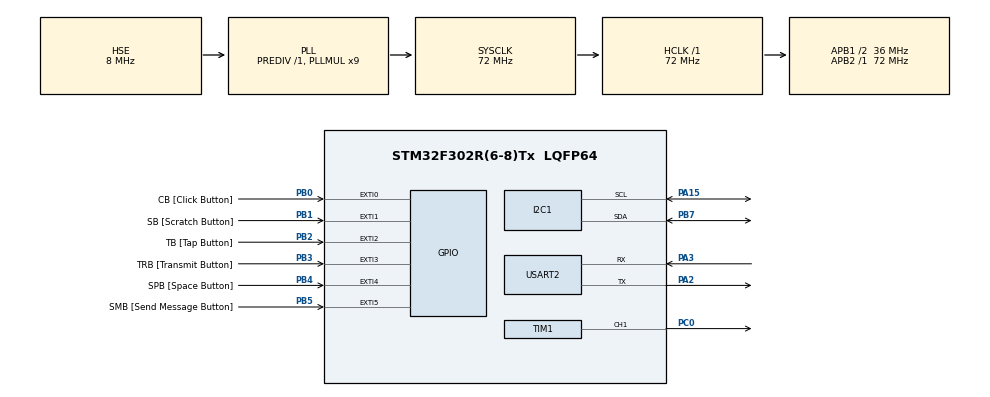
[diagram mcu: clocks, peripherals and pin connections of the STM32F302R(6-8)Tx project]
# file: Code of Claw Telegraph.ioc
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Mcu.Family=STM32F3
Mcu.Name=STM32F302R(6-8)Tx
Mcu.Package=LQFP64
NVIC.PriorityGroup=NVIC_PRIORITYGROUP_4
NVIC.TIM2_IRQn=true\:0\:0\:false\:false\:true\:true\:true\:true
NVIC.TIM6_DAC_IRQn=true\:0\:0\:false\:false\:true\:true\:true\:true
PA13.Mode=Serial_Wire
PA13.Signal=SYS_JTMS-SWDIO
PA14.Mode=Serial_Wire
PA14.Signal=SYS_JTCK-SWCLK
PA15.Mode=I2C
PA15.Signal=I2C1_SCL
PA2.Mode=Asynchronous
PA2.Signal=USART2_TX
PA3.Mode=Asynchronous
PA3.Signal=USART2_RX
PB0.GPIO_Label=CB [Click Button]
PB0.GPIO_ModeDefaultEXTI=GPIO_MODE_IT_FALLING
PB0.GPIO_PuPd=GPIO_PULLUP
PB0.Signal=GPXTI0
PB1.GPIO_Label=SB [Scratch Button]
PB1.GPIO_ModeDefaultEXTI=GPIO_MODE_IT_FALLING
PB1.GPIO_PuPd=GPIO_PULLUP
PB1.Signal=GPXTI1
PB2.GPIO_Label=TB [Tap Button]
PB2.GPIO_ModeDefaultEXTI=GPIO_MODE_IT_FALLING
PB2.GPIO_PuPd=GPIO_PULLUP
PB2.Signal=GPXTI2
PB3.GPIO_Label=TRB [Transmit Button]
PB3.GPIO_ModeDefaultEXTI=GPIO_MODE_IT_FALLING
PB3.GPIO_PuPd=GPIO_PULLUP
PB3.Signal=GPXTI3
PB4.GPIO_Label=SPB [Space Button]
PB4.GPIO_ModeDefaultEXTI=GPIO_MODE_IT_FALLING
PB4.GPIO_PuPd=GPIO_PULLUP
PB4.Signal=GPXTI4
PB5.GPIO_Label=SMB [Send Message Button]
PB5.GPIO_ModeDefaultEXTI=GPIO_MODE_IT_FALLING
PB5.GPIO_PuPd=GPIO_PULLUP
PB5.Signal=GPXTI5
PB7.Mode=I2C
PB7.Signal=I2C1_SDA
PC0.Signal=S_TIM1_CH1
PF0-OSC_IN.Mode=HSE-External-Oscillator
PF0-OSC_IN.Signal=RCC_OSC_IN
PF1-OSC_OUT.Mode=HSE-External-Oscillator
PF1-OSC_OUT.Signal=RCC_OSC_OUT
ProjectManager.HeapSize=0x200
ProjectManager.StackSize=0x400
ProjectManager.TargetToolchain=STM32CubeIDE
RCC.AHBFreq_Value=72000000
RCC.APB1CLKDivider=RCC_HCLK_DIV2
RCC.APB1Freq_Value=36000000
RCC.APB1TimFreq_Value=72000000
RCC.APB2Freq_Value=72000000
RCC.APB2TimFreq_Value=72000000
RCC.CortexFreq_Value=72000000
RCC.HCLKFreq_Value=72000000
RCC.HSE_VALUE=8000000
RCC.HSI_VALUE=8000000
RCC.LSE_VALUE=32768
RCC.PLLMUL=RCC_PLL_MUL9
RCC.PLLSourceVirtual=RCC_PLLSOURCE_HSE
RCC.SYSCLKFreq_VALUE=72000000
RCC.SYSCLKSourceVirtual=RCC_SYSCLKSOURCE_PLLCLK
RCC.USBFreq_Value=72000000
SH.S_TIM1_CH1.0=TIM1_CH1,PWM Generation1 CH1
TIM1.Channel-PWM\ Generation1\ CH1=TIM_CHANNEL_1
TIM1.Period=2639
TIM1.Prescaler=30
TIM2.Period=799
TIM2.Prescaler=359
TIM6.Period=2639
TIM6.Prescaler=30
USART2.VirtualMode-Asynchronous=VM_ASYNC
VP_TIM1_VS_ClockSourceINT.Mode=Internal
VP_TIM2_VS_ClockSourceINT.Mode=Internal
VP_TIM6_VS_ClockSourceINT.Mode=Enable_Timer
board=custom

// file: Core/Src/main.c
/* USER CODE BEGIN Header */
/**
  ******************************************************************************
  * @file           : main.c
  * @brief          : Main program body
  ******************************************************************************
  * @attention
  *
  * Copyright (c) 2024 STMicroelectronics.
  * All rights reserved.
  *
  * This software is licensed under terms that can be found in the LICENSE file
  * in the root directory of this software component.
  * If no LICENSE file comes with this software, it is provided AS-IS.
  *
  ******************************************************************************
  */
/* USER CODE END Header */
#include "main.h"

/* USER CODE BEGIN Includes */
#include "liquidcrystal_i2c.h"
#include "telegraph_configurations.h"
/* USER CODE END Includes */

I2C_HandleTypeDef hi2c1;

TIM_HandleTypeDef htim1;
TIM_HandleTypeDef htim2;
TIM_HandleTypeDef htim6;

UART_HandleTypeDef huart2;

/* USER CODE BEGIN PV */
trie_node* temporary_travel;
/* USER CODE END PV */

void SystemClock_Config(void);
static void MX_GPIO_Init(void);
static void MX_TIM1_Init(void);
static void MX_TIM2_Init(void);
static void MX_USART2_UART_Init(void);
static void MX_I2C1_Init(void);
static void MX_TIM6_Init(void);
/* USER CODE BEGIN PFP */
void Telegraph_Init(void);
void Telegraph_IO_Test(void);
void Generate_Tone_Test(int period);
/* USER CODE END PFP */

int main(void)
{

  /* MCU Configuration--------------------------------------------------------*/

  /* Reset of all peripherals, Initializes the Flash interface and the Systick. */
  HAL_Init();

  /* Configure the system clock */
  SystemClock_Config();

  /* Initialize all configured peripherals */
  MX_GPIO_Init();
  MX_TIM1_Init();
  MX_TIM2_Init();
  MX_USART2_UART_Init();
  MX_I2C1_Init();
  MX_TIM6_Init();
  /* USER CODE BEGIN 2 */
  Telegraph_Init();
  Telegraph_IO_Test();
  /* USER CODE END 2 */

  /* Infinite loop */
  while (1)
  {

  }
}

void SystemClock_Config(void)
{
  RCC_OscInitTypeDef RCC_OscInitStruct = {0};
  RCC_ClkInitTypeDef RCC_ClkInitStruct = {0};
  RCC_PeriphCLKInitTypeDef PeriphClkInit = {0};

  /** Initializes the RCC Oscillators according to the specified parameters
  * in the RCC_OscInitTypeDef structure.
  */
  RCC_OscInitStruct.OscillatorType = RCC_OSCILLATORTYPE_HSI|RCC_OSCILLATORTYPE_HSE;
  RCC_OscInitStruct.HSEState = RCC_HSE_ON;
  RCC_OscInitStruct.HSEPredivValue = RCC_HSE_PREDIV_DIV1;
  RCC_OscInitStruct.HSIState = RCC_HSI_ON;
  RCC_OscInitStruct.HSICalibrationValue = RCC_HSICALIBRATION_DEFAULT;
  RCC_OscInitStruct.PLL.PLLState = RCC_PLL_ON;
  RCC_OscInitStruct.PLL.PLLSource = RCC_PLLSOURCE_HSE;
  RCC_OscInitStruct.PLL.PLLMUL = RCC_PLL_MUL9;
  if (HAL_RCC_OscConfig(&RCC_OscInitStruct) != HAL_OK)
  {
    Error_Handler();
  }

  /** Initializes the CPU, AHB and APB buses clocks
  */
  RCC_ClkInitStruct.ClockType = RCC_CLOCKTYPE_HCLK|RCC_CLOCKTYPE_SYSCLK
                              |RCC_CLOCKTYPE_PCLK1|RCC_CLOCKTYPE_PCLK2;
  RCC_ClkInitStruct.SYSCLKSource = RCC_SYSCLKSOURCE_PLLCLK;
  RCC_ClkInitStruct.AHBCLKDivider = RCC_SYSCLK_DIV1;
  RCC_ClkInitStruct.APB1CLKDivider = RCC_HCLK_DIV2;
  RCC_ClkInitStruct.APB2CLKDivider = RCC_HCLK_DIV1;

  if (HAL_RCC_ClockConfig(&RCC_ClkInitStruct, FLASH_LATENCY_2) != HAL_OK)
  {
    Error_Handler();
  }
  PeriphClkInit.PeriphClockSelection = RCC_PERIPHCLK_I2C1|RCC_PERIPHCLK_TIM1;
  PeriphClkInit.I2c1ClockSelection = RCC_I2C1CLKSOURCE_HSI;
  PeriphClkInit.Tim1ClockSelection = RCC_TIM1CLK_HCLK;
  if (HAL_RCCEx_PeriphCLKConfig(&PeriphClkInit) != HAL_OK)
  {
    Error_Handler();
  }
}

static void MX_I2C1_Init(void)
{

  hi2c1.Instance = I2C1;
  hi2c1.Init.Timing = 0x2000090E;
  hi2c1.Init.OwnAddress1 = 0;
  hi2c1.Init.AddressingMode = I2C_ADDRESSINGMODE_7BIT;
  hi2c1.Init.DualAddressMode = I2C_DUALADDRESS_DISABLE;
  hi2c1.Init.OwnAddress2 = 0;
  hi2c1.Init.OwnAddress2Masks = I2C_OA2_NOMASK;
  hi2c1.Init.GeneralCallMode = I2C_GENERALCALL_DISABLE;
  hi2c1.Init.NoStretchMode = I2C_NOSTRETCH_DISABLE;
  if (HAL_I2C_Init(&hi2c1) != HAL_OK)
  {
    Error_Handler();
  }

  /** Configure Analogue filter
  */
  if (HAL_I2CEx_ConfigAnalogFilter(&hi2c1, I2C_ANALOGFILTER_ENABLE) != HAL_OK)
  {
    Error_Handler();
  }

  /** Configure Digital filter
  */
  if (HAL_I2CEx_ConfigDigitalFilter(&hi2c1, 0) != HAL_OK)
  {
    Error_Handler();
  }

}

static void MX_TIM1_Init(void)
{

  TIM_ClockConfigTypeDef sClockSourceConfig = {0};
  TIM_MasterConfigTypeDef sMasterConfig = {0};
  TIM_OC_InitTypeDef sConfigOC = {0};
  TIM_BreakDeadTimeConfigTypeDef sBreakDeadTimeConfig = {0};

  htim1.Instance = TIM1;
  htim1.Init.Prescaler = 30;
  htim1.Init.CounterMode = TIM_COUNTERMODE_UP;
  htim1.Init.Period = 2639;
  htim1.Init.ClockDivision = TIM_CLOCKDIVISION_DIV1;
  htim1.Init.RepetitionCounter = 0;
  htim1.Init.AutoReloadPreload = TIM_AUTORELOAD_PRELOAD_DISABLE;
  if (HAL_TIM_Base_Init(&htim1) != HAL_OK)
  {
    Error_Handler();
  }
  sClockSourceConfig.ClockSource = TIM_CLOCKSOURCE_INTERNAL;
  if (HAL_TIM_ConfigClockSource(&htim1, &sClockSourceConfig) != HAL_OK)
  {
    Error_Handler();
  }
  if (HAL_TIM_PWM_Init(&htim1) != HAL_OK)
  {
    Error_Handler();
  }
  sMasterConfig.MasterOutputTrigger = TIM_TRGO_RESET;
  sMasterConfig.MasterOutputTrigger2 = TIM_TRGO2_RESET;
  sMasterConfig.MasterSlaveMode = TIM_MASTERSLAVEMODE_DISABLE;
  if (HAL_TIMEx_MasterConfigSynchronization(&htim1, &sMasterConfig) != HAL_OK)
  {
    Error_Handler();
  }
  sConfigOC.OCMode = TIM_OCMODE_PWM1;
  sConfigOC.Pulse = 0;
  sConfigOC.OCPolarity = TIM_OCPOLARITY_HIGH;
  sConfigOC.OCNPolarity = TIM_OCNPOLARITY_HIGH;
  sConfigOC.OCFastMode = TIM_OCFAST_DISABLE;
  sConfigOC.OCIdleState = TIM_OCIDLESTATE_RESET;
  sConfigOC.OCNIdleState = TIM_OCNIDLESTATE_RESET;
  if (HAL_TIM_PWM_ConfigChannel(&htim1, &sConfigOC, TIM_CHANNEL_1) != HAL_OK)
  {
    Error_Handler();
  }
  sBreakDeadTimeConfig.OffStateRunMode = TIM_OSSR_DISABLE;
  sBreakDeadTimeConfig.OffStateIDLEMode = TIM_OSSI_DISABLE;
  sBreakDeadTimeConfig.LockLevel = TIM_LOCKLEVEL_OFF;
  sBreakDeadTimeConfig.DeadTime = 0;
  sBreakDeadTimeConfig.BreakState = TIM_BREAK_DISABLE;
  sBreakDeadTimeConfig.BreakPolarity = TIM_BREAKPOLARITY_HIGH;
  sBreakDeadTimeConfig.BreakFilter = 0;
  sBreakDeadTimeConfig.Break2State = TIM_BREAK2_DISABLE;
  sBreakDeadTimeConfig.Break2Polarity = TIM_BREAK2POLARITY_HIGH;
  sBreakDeadTimeConfig.Break2Filter = 0;
  sBreakDeadTimeConfig.AutomaticOutput = TIM_AUTOMATICOUTPUT_DISABLE;
  if (HAL_TIMEx_ConfigBreakDeadTime(&htim1, &sBreakDeadTimeConfig) != HAL_OK)
  {
    Error_Handler();
  }
  HAL_TIM_MspPostInit(&htim1);

}

static void MX_TIM2_Init(void)
{

  TIM_ClockConfigTypeDef sClockSourceConfig = {0};
  TIM_MasterConfigTypeDef sMasterConfig = {0};

  htim2.Instance = TIM2;
  htim2.Init.Prescaler = 359;
  htim2.Init.CounterMode = TIM_COUNTERMODE_UP;
  htim2.Init.Period = 799;
  htim2.Init.ClockDivision = TIM_CLOCKDIVISION_DIV1;
  htim2.Init.AutoReloadPreload = TIM_AUTORELOAD_PRELOAD_DISABLE;
  if (HAL_TIM_Base_Init(&htim2) != HAL_OK)
  {
    Error_Handler();
  }
  sClockSourceConfig.ClockSource = TIM_CLOCKSOURCE_INTERNAL;
  if (HAL_TIM_ConfigClockSource(&htim2, &sClockSourceConfig) != HAL_OK)
  {
    Error_Handler();
  }
  sMasterConfig.MasterOutputTrigger = TIM_TRGO_RESET;
  sMasterConfig.MasterSlaveMode = TIM_MASTERSLAVEMODE_DISABLE;
  if (HAL_TIMEx_MasterConfigSynchronization(&htim2, &sMasterConfig) != HAL_OK)
  {
    Error_Handler();
  }

}

static void MX_TIM6_Init(void)
{

  TIM_MasterConfigTypeDef sMasterConfig = {0};

  htim6.Instance = TIM6;
  htim6.Init.Prescaler = 30;
  htim6.Init.CounterMode = TIM_COUNTERMODE_UP;
  htim6.Init.Period = 2639;
  htim6.Init.AutoReloadPreload = TIM_AUTORELOAD_PRELOAD_DISABLE;
  if (HAL_TIM_Base_Init(&htim6) != HAL_OK)
  {
    Error_Handler();
  }
  sMasterConfig.MasterOutputTrigger = TIM_TRGO_RESET;
  sMasterConfig.MasterSlaveMode = TIM_MASTERSLAVEMODE_DISABLE;
  if (HAL_TIMEx_MasterConfigSynchronization(&htim6, &sMasterConfig) != HAL_OK)
  {
    Error_Handler();
  }

}

static void MX_USART2_UART_Init(void)
{

  huart2.Instance = USART2;
  huart2.Init.BaudRate = 38400;
  huart2.Init.WordLength = UART_WORDLENGTH_8B;
  huart2.Init.StopBits = UART_STOPBITS_1;
  huart2.Init.Parity = UART_PARITY_NONE;
  huart2.Init.Mode = UART_MODE_TX_RX;
  huart2.Init.HwFlowCtl = UART_HWCONTROL_NONE;
  huart2.Init.OverSampling = UART_OVERSAMPLING_16;
  huart2.Init.OneBitSampling = UART_ONE_BIT_SAMPLE_DISABLE;
  huart2.AdvancedInit.AdvFeatureInit = UART_ADVFEATURE_NO_INIT;
  if (HAL_UART_Init(&huart2) != HAL_OK)
  {
    Error_Handler();
  }

}

static void MX_GPIO_Init(void)
{
  GPIO_InitTypeDef GPIO_InitStruct = {0};

  /* GPIO Ports Clock Enable */
  __HAL_RCC_GPIOF_CLK_ENABLE();
  __HAL_RCC_GPIOC_CLK_ENABLE();
  __HAL_RCC_GPIOA_CLK_ENABLE();
  __HAL_RCC_GPIOB_CLK_ENABLE();

  /*Configure GPIO pins : CB_Pin SB_Pin TB_Pin TRB_Pin
                           SPB_Pin SMB_Pin */
  GPIO_InitStruct.Pin = CB_Pin|SB_Pin|TB_Pin|TRB_Pin
                          |SPB_Pin|SMB_Pin;
  GPIO_InitStruct.Mode = GPIO_MODE_IT_FALLING;
  GPIO_InitStruct.Pull = GPIO_PULLUP;
  HAL_GPIO_Init(GPIOB, &GPIO_InitStruct);

}

/* USER CODE BEGIN 4 */
void Telegraph_Init(void) {
	// Set up timer 1 PWM and timer 2 and 6 interrupts
	HAL_TIM_PWM_Start(&htim1, TIM_CHANNEL_1);

	HAL_NVIC_SetPriority(TIM6_DAC_IRQn, 0, 0);
	HAL_NVIC_EnableIRQ(TIM6_DAC_IRQn);

	HAL_NVIC_SetPriority(TIM2_IRQn, 0, 0);
	HAL_NVIC_EnableIRQ(TIM2_IRQn);
	HAL_TIM_Base_Start_IT(&htim2);

	// Set up LCD screen
	HD44780_Init(2);
	HD44780_Clear();

	temporary_travel = Telegraph_Config_Init();
}

void Telegraph_IO_Test(void) {
	HD44780_SetCursor(0, 0);
//	HD44780_PrintStr("HELLO WORLD");

//	char message[15];
//	sprintf(message, "HELLO WORLD\r\n");
	HAL_UART_Transmit(&huart2, (uint8_t*) "\r\n", 2, 100);

	Generate_Tone_Test(CLICK_PERIOD);
	HAL_Delay(500);

	Generate_Tone_Test(SCRATCH_PERIOD);
	HAL_Delay(500);

	Generate_Tone_Test(TAP_PERIOD);
	HAL_Delay(500);

	Generate_Tone_Test(TRANSMIT_PERIOD);
	HAL_Delay(500);

	Generate_Tone_Test(SPACE_PERIOD);
	HAL_Delay(500);

	Generate_Tone_Test(SEND_PERIOD);
	HAL_Delay(500);

	HD44780_Clear();
	Generate_Tone_Test(0);

	HAL_TIM_Base_Start_IT(&htim6);
}

void Generate_Tone_Test(int period) {
	__HAL_TIM_SET_AUTORELOAD(&htim1, period * 2);
	__HAL_TIM_SET_COMPARE(&htim1, TIM_CHANNEL_1, period);
}
/* USER CODE END 4 */

void Error_Handler(void)
{
  __disable_irq();
  while (1)
  {
  }
}
